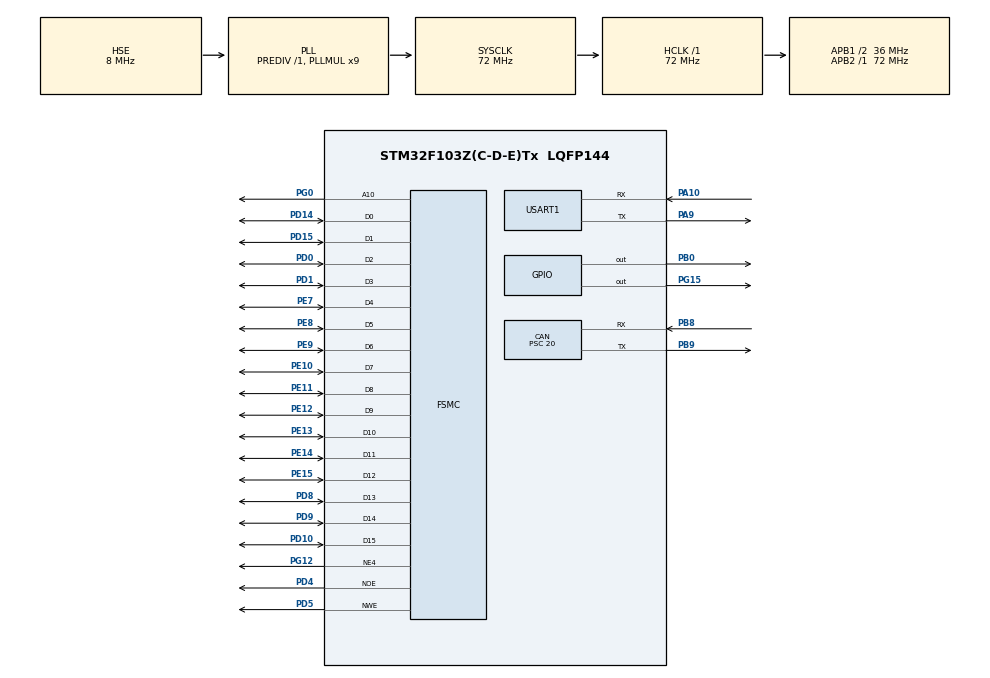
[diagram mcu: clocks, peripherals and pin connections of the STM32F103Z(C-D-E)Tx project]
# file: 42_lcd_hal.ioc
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CAN.ABOM=ENABLE
CAN.BS1=CAN_BS1_13TQ
CAN.BS2=CAN_BS2_4TQ
CAN.CalculateBaudRate=100000
CAN.CalculateTimeBit=10000
CAN.CalculateTimeQuantum=555.5555555555555
CAN.NART=ENABLE
CAN.Prescaler=20
CAN.SJW=CAN_SJW_1TQ
CAN.TXFP=ENABLE
FREERTOS.Tasks01=defaultTask,8,128,StartDefaultTask,Default,NULL,Dynamic,NULL,NULL;lvgl,24,768,StartLvglTask,Default,NULL,Dynamic,NULL,NULL;myTask03,8,128,StartTask03,Default,NULL,Dynamic,NULL,NULL
FREERTOS.configCHECK_FOR_STACK_OVERFLOW=2
FREERTOS.configTOTAL_HEAP_SIZE=8192
FREERTOS.configUSE_MALLOC_FAILED_HOOK=1
FSMC.DataSetupTime1=71
Mcu.Family=STM32F1
Mcu.Name=STM32F103Z(C-D-E)Tx
Mcu.Package=LQFP144
NVIC.PriorityGroup=NVIC_PRIORITYGROUP_4
NVIC.TIM4_IRQn=true\:15\:0\:false\:false\:true\:false\:false\:true\:true
NVIC.TimeBase=TIM4_IRQn
NVIC.TimeBaseIP=TIM4
NVIC.USB_LP_CAN1_RX0_IRQn=true\:5\:0\:false\:false\:true\:true\:true\:true\:true
OSC_IN.Mode=HSE-External-Oscillator
OSC_IN.Signal=RCC_OSC_IN
OSC_OUT.Mode=HSE-External-Oscillator
OSC_OUT.Signal=RCC_OSC_OUT
PA10.Mode=Asynchronous
PA10.Signal=USART1_RX
PA13.Mode=Serial_Wire
PA13.Signal=SYS_JTMS-SWDIO
PA14.Mode=Serial_Wire
PA14.Signal=SYS_JTCK-SWCLK
PA9.Mode=Asynchronous
PA9.Signal=USART1_TX
PB0.GPIO_Speed=GPIO_SPEED_FREQ_HIGH
PB0.Signal=GPIO_Output
PB8.Mode=CAN_Activate
PB8.Signal=CAN_RX
PB9.Mode=CAN_Activate
PB9.Signal=CAN_TX
PC14-OSC32_IN.Mode=LSE-External-Oscillator
PC14-OSC32_IN.Signal=RCC_OSC32_IN
PC15-OSC32_OUT.Mode=LSE-External-Oscillator
PC15-OSC32_OUT.Signal=RCC_OSC32_OUT
PD0.Signal=FSMC_D2_DA2
PD1.Signal=FSMC_D3_DA3
PD10.Signal=FSMC_D15_DA15
PD14.Signal=FSMC_D0_DA0
PD15.Signal=FSMC_D1_DA1
PD4.Signal=FSMC_NOE
PD5.Signal=FSMC_NWE
PD8.Signal=FSMC_D13_DA13
PD9.Signal=FSMC_D14_DA14
PE10.Signal=FSMC_D7_DA7
PE11.Signal=FSMC_D8_DA8
PE12.Signal=FSMC_D9_DA9
PE13.Signal=FSMC_D10_DA10
PE14.Signal=FSMC_D11_DA11
PE15.Signal=FSMC_D12_DA12
PE7.Signal=FSMC_D4_DA4
PE8.Signal=FSMC_D5_DA5
PE9.Signal=FSMC_D6_DA6
PG0.Signal=FSMC_A10
PG12.Mode=NorPsramChipSelect4_1
PG12.Signal=FSMC_NE4
PG15.GPIO_Speed=GPIO_SPEED_FREQ_HIGH
PG15.PinState=GPIO_PIN_SET
PG15.Signal=GPIO_Output
ProjectManager.HeapSize=0x200
ProjectManager.StackSize=0x400
ProjectManager.TargetToolchain=MDK-ARM V5.32
RCC.AHBFreq_Value=72000000
RCC.APB1CLKDivider=RCC_HCLK_DIV2
RCC.APB1Freq_Value=36000000
RCC.APB1TimFreq_Value=72000000
RCC.APB2Freq_Value=72000000
RCC.APB2TimFreq_Value=72000000
RCC.HCLKFreq_Value=72000000
RCC.PLLMUL=RCC_PLL_MUL9
RCC.PLLSourceVirtual=RCC_PLLSOURCE_HSE
RCC.SYSCLKFreq_VALUE=72000000
RCC.SYSCLKSource=RCC_SYSCLKSOURCE_PLLCLK
RCC.USBFreq_Value=72000000
SH.FSMC_A10.0=FSMC_A10,A10_1
SH.FSMC_D0_DA0.0=FSMC_D0,16b-d1
SH.FSMC_D10_DA10.0=FSMC_D10,16b-d1
SH.FSMC_D11_DA11.0=FSMC_D11,16b-d1
SH.FSMC_D12_DA12.0=FSMC_D12,16b-d1
SH.FSMC_D13_DA13.0=FSMC_D13,16b-d1
SH.FSMC_D14_DA14.0=FSMC_D14,16b-d1
SH.FSMC_D15_DA15.0=FSMC_D15,16b-d1
SH.FSMC_D1_DA1.0=FSMC_D1,16b-d1
SH.FSMC_D2_DA2.0=FSMC_D2,16b-d1
SH.FSMC_D3_DA3.0=FSMC_D3,16b-d1
SH.FSMC_D4_DA4.0=FSMC_D4,16b-d1
SH.FSMC_D5_DA5.0=FSMC_D5,16b-d1
SH.FSMC_D6_DA6.0=FSMC_D6,16b-d1
SH.FSMC_D7_DA7.0=FSMC_D7,16b-d1
SH.FSMC_D8_DA8.0=FSMC_D8,16b-d1
SH.FSMC_D9_DA9.0=FSMC_D9,16b-d1
SH.FSMC_NOE.0=FSMC_NOE,Lcd1
SH.FSMC_NWE.0=FSMC_NWE,Lcd1
USART1.VirtualMode=VM_ASYNC
VP_FREERTOS_VS_CMSIS_V2.Mode=CMSIS_V2
VP_SYS_VS_tim4.Mode=TIM4
board=custom

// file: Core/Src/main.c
/* USER CODE BEGIN Header */
/**
 ******************************************************************************
 * @file           : main.c
 * @brief          : Main program body
 ******************************************************************************
 * @attention
 *
 * Copyright (c) 2024 STMicroelectronics.
 * All rights reserved.
 *
 * This software is licensed under terms that can be found in the LICENSE file
 * in the root directory of this software component.
 * If no LICENSE file comes with this software, it is provided AS-IS.
 *
 ******************************************************************************
 */
/* USER CODE END Header */
#include "main.h"
#include "cmsis_os.h"
#include "can.h"
#include "usart.h"
#include "gpio.h"
#include "fsmc.h"

/* USER CODE BEGIN Includes */
#include <stdio.h>
#include <stdlib.h>
#include "lcd.h"
/* USER CODE END Includes */

void SystemClock_Config(void);
void MX_FREERTOS_Init(void);

int main(void)
{

  /* MCU Configuration--------------------------------------------------------*/

  /* Reset of all peripherals, Initializes the Flash interface and the Systick. */
  HAL_Init();

  /* Configure the system clock */
  SystemClock_Config();

  /* Initialize all configured peripherals */
  /*
   * 初始化顺序：GPIO → FSMC LCD 总线 → USART1 调试串口 → CAN1。
   * LCD/LVGL 本体稍后在 LVGL 任务中初始化。
   */
  MX_GPIO_Init();
  MX_FSMC_Init();
  MX_USART1_UART_Init();
  MX_CAN_Init();
  /* USER CODE BEGIN 2 */
/*
 * 调度器启动前配置 0x201 过滤器、启动 CAN1 和接收中断。
 * 如果启动失败则打印错误并停机，防止进入一个没有 CAN 的仪表系统。
 */
if(CAN_ReceiveStart() != HAL_OK)
{
    printf("CAN START ERROR\r\n");
    Error_Handler();
}

printf("CAN START OK\r\n");
  /* USER CODE END 2 */

  /* Init scheduler */
  /* 初始化 CMSIS-RTOS2/FreeRTOS 内核和应用任务，然后启动调度器。 */
  osKernelInitialize();

  /* Call init function for freertos objects (in freertos.c) */
  MX_FREERTOS_Init();

  /* Start scheduler */
  osKernelStart();

  /* We should never get here as control is now taken by the scheduler */
  /* Infinite loop */
  while (1)
  {

  }
}

void SystemClock_Config(void)
{
  RCC_OscInitTypeDef RCC_OscInitStruct = {0};
  RCC_ClkInitTypeDef RCC_ClkInitStruct = {0};

  /** Initializes the RCC Oscillators according to the specified parameters
  * in the RCC_OscInitTypeDef structure.
  */
  /* 外部 8MHz 晶振经 PLL×9 得到 72MHz SYSCLK。 */
  RCC_OscInitStruct.OscillatorType = RCC_OSCILLATORTYPE_HSE;
  RCC_OscInitStruct.HSEState = RCC_HSE_ON;
  RCC_OscInitStruct.HSEPredivValue = RCC_HSE_PREDIV_DIV1;
  RCC_OscInitStruct.HSIState = RCC_HSI_ON;
  RCC_OscInitStruct.PLL.PLLState = RCC_PLL_ON;
  RCC_OscInitStruct.PLL.PLLSource = RCC_PLLSOURCE_HSE;
  RCC_OscInitStruct.PLL.PLLMUL = RCC_PLL_MUL9;
  if (HAL_RCC_OscConfig(&RCC_OscInitStruct) != HAL_OK)
  {
    Error_Handler();
  }

  /** Initializes the CPU, AHB and APB buses clocks
  */
  RCC_ClkInitStruct.ClockType = RCC_CLOCKTYPE_HCLK|RCC_CLOCKTYPE_SYSCLK
                              |RCC_CLOCKTYPE_PCLK1|RCC_CLOCKTYPE_PCLK2;
  RCC_ClkInitStruct.SYSCLKSource = RCC_SYSCLKSOURCE_PLLCLK;
  /* AHB=72MHz，APB1=36MHz，APB2=72MHz。 */
  RCC_ClkInitStruct.AHBCLKDivider = RCC_SYSCLK_DIV1;
  RCC_ClkInitStruct.APB1CLKDivider = RCC_HCLK_DIV2;
  RCC_ClkInitStruct.APB2CLKDivider = RCC_HCLK_DIV1;

  if (HAL_RCC_ClockConfig(&RCC_ClkInitStruct, FLASH_LATENCY_2) != HAL_OK)
  {
    Error_Handler();
  }
}

void HAL_TIM_PeriodElapsedCallback(TIM_HandleTypeDef *htim)
{
  /* TIM4 是 HAL 时间基准，每 1ms 调用一次 HAL_IncTick()。 */
  if (htim->Instance == TIM4) {
    HAL_IncTick();
  }
}

void Error_Handler(void)
{
  __disable_irq();
  while (1)
  {
  }
}

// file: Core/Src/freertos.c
/* USER CODE BEGIN Header */
/**
  ******************************************************************************
  * File Name          : freertos.c
  * Description        : Code for freertos applications
  ******************************************************************************
  * @attention
  *
  * Copyright (c) 2026 STMicroelectronics.
  * All rights reserved.
  *
  * This software is licensed under terms that can be found in the LICENSE file
  * in the root directory of this software component.
  * If no LICENSE file comes with this software, it is provided AS-IS.
  *
  ******************************************************************************
  */
/* USER CODE END Header */

#include "FreeRTOS.h"
#include "task.h"
#include "main.h"
#include "cmsis_os.h"

/* USER CODE BEGIN Includes */
#include "lcd.h"
#include "lvgl.h"
#include "lv_port_disp.h"
#include <stdio.h>
#include "dashboard.h"
#include "can.h"
/* USER CODE END Includes */

/* USER CODE BEGIN PD */
/* LVGL 任务每 20ms 检查一次共享 CAN 数据，界面实际只在数据变化时重绘。 */
#define DASHBOARD_UPDATE_PERIOD_MS  20U
/* 500ms 内没有新有效帧即认为 CAN 离线，仪表归零并显示 CAN LOST。 */
#define DASHBOARD_CAN_TIMEOUT_MS    500U

/* USER CODE END PD */

/* Definitions for defaultTask */
osThreadId_t defaultTaskHandle;
/* 默认任务仅保留 CubeMX 框架，低优先级、512 字节栈。 */
const osThreadAttr_t defaultTask_attributes = {
  .name = "defaultTask",
  .stack_size = 128 * 4,
  .priority = (osPriority_t) osPriorityLow,
};
/* Definitions for lvgl */
osThreadId_t lvglHandle;
/*
 * LVGL 软件渲染调用链较深，因此分配 1536 words = 6144 字节栈。
 * 之前 3072 字节会在第一次整屏绘制附近发生栈溢出/HardFault。
 */
const osThreadAttr_t lvgl_attributes = {
  .name = "lvgl",
  .stack_size = 1536 * 4,
  .priority = (osPriority_t) osPriorityNormal,
};
/* Definitions for myTask03 */
osThreadId_t myTask03Handle;
/* CAN 串口监视任务：Normal 优先级，1024 字节栈。 */
const osThreadAttr_t myTask03_attributes = {
  .name = "myTask03",
  .stack_size = 256 * 4,
  .priority = (osPriority_t) osPriorityNormal,
};

void StartDefaultTask(void *argument);
void StartLvglTask(void *argument);
void StartTask03(void *argument);

void MX_FREERTOS_Init(void); /* (MISRA C 2004 rule 8.1) */

/* Hook prototypes */
void vApplicationStackOverflowHook(xTaskHandle xTask, signed char *pcTaskName);
void vApplicationMallocFailedHook(void);

/* USER CODE BEGIN 4 */
void vApplicationStackOverflowHook(xTaskHandle xTask, signed char *pcTaskName)
{
   /*
    * FreeRTOS 检测到任务栈溢出时进入此钩子。
    * 调试时可在此处下断点，并查看 pcTaskName 确认是哪个任务溢出。
    */
   (void)xTask;
   (void)pcTaskName;
   /* Run time stack overflow checking is performed if
   configCHECK_FOR_STACK_OVERFLOW is defined to 1 or 2. This hook function is
   called if a stack overflow is detected. */
}
/* USER CODE END 4 */

/* USER CODE BEGIN 5 */
void vApplicationMallocFailedHook(void)
{
   /* FreeRTOS 堆分配失败时进入此钩子，调试时应在此处下断点。 */
   /* vApplicationMallocFailedHook() will only be called if
   configUSE_MALLOC_FAILED_HOOK is set to 1 in FreeRTOSConfig.h. It is a hook
   function that will get called if a call to pvPortMalloc() fails.
   pvPortMalloc() is called internally by the kernel whenever a task, queue,
   timer or semaphore is created. It is also called by various parts of the
   demo application. If heap_1.c or heap_2.c are used, then the size of the
   heap available to pvPortMalloc() is defined by configTOTAL_HEAP_SIZE in
   FreeRTOSConfig.h, and the xPortGetFreeHeapSize() API function can be used
   to query the size of free heap space that remains (although it does not
   provide information on how the remaining heap might be fragmented). */
}
/* USER CODE END 5 */

void MX_FREERTOS_Init(void) {

  /* Create the thread(s) */
  /* 依次创建默认任务、LVGL 任务和 CAN 串口监视任务。 */
  /* creation of defaultTask */
  defaultTaskHandle = osThreadNew(StartDefaultTask, NULL, &defaultTask_attributes);

  /* creation of lvgl */
  lvglHandle = osThreadNew(StartLvglTask, NULL, &lvgl_attributes);

  /* creation of myTask03 */
  myTask03Handle = osThreadNew(StartTask03, NULL, &myTask03_attributes);

  /* USER CODE BEGIN RTOS_THREADS */
  /* 调度器启动前输出任务创建结果；任一句柄为 NULL 都表示堆空间不足。 */
  printf("TASK CREATE default:%s lvgl:%s task3:%s HEAP:%lu\r\n",
         (defaultTaskHandle != NULL) ? "OK" : "FAIL",
         (lvglHandle != NULL) ? "OK" : "FAIL",
         (myTask03Handle != NULL) ? "OK" : "FAIL",
         (unsigned long)xPortGetFreeHeapSize());
  /* USER CODE END RTOS_THREADS */

}

void StartDefaultTask(void *argument)
{
  /* USER CODE BEGIN StartDefaultTask */
  (void)argument;

  /*
   * 该任务目前不承担业务，只周期性阻塞，让出 CPU。
   * 保留它是为了兼容 CubeMX 生成结构和后续扩展。
   */
  /* Infinite loop */
  for(;;)
  {
    osDelay(1);
  }
  /* USER CODE END StartDefaultTask */
}

void StartLvglTask(void *argument)
{
  /* USER CODE BEGIN StartLvglTask */
  lv_display_t *display;
  uint16_t rpm_x10;
  uint16_t last_display_rpm_x10;
  uint8_t can_online;
  uint8_t last_can_online;
  uint32_t last_rx_tick;
  uint32_t dashboard_update_tick;
  uint32_t now;

  (void)argument;

  /*
   * LCD 和 LVGL 都在同一个任务中初始化并访问。
   * 这样可保证 LVGL 对象不会被多个任务同时修改。
   */
  LCD_Init();
  LCD_SetLandscape();
  LCD_ClearAll(BLACK);

  /* 初始化 LVGL 核心，并让 LVGL 直接读取 HAL 的毫秒节拍。 */
  lv_init();
  lv_tick_set_cb(HAL_GetTick);

  /* 注册 480×320 RGB565 的 ILI9486 显示端口。 */
  display = LV_PortDisp_Init();
  if(display == NULL)
  {
    /* LVGL 内存不足时停在此处，便于调试器定位。 */
    for(;;)
    {
      osDelay(1000U);
    }
  }

  /* 创建汽车转速表界面。 */
  Dashboard_Init();

  /* 使用不可能出现的初值，确保第一次轮询一定刷新 CAN 状态。 */
  last_display_rpm_x10 = 0xFFFFU;
  last_can_online = 0xFFU;
  dashboard_update_tick = HAL_GetTick();

  /* Infinite loop */
  for(;;)
  {
    now = HAL_GetTick();

    /* 每 20ms 获取一次 CAN 数据快照。 */
    if((now - dashboard_update_tick) >=
       DASHBOARD_UPDATE_PERIOD_MS)
    {
      dashboard_update_tick = now;

      /* Cortex-M3 对对齐的 16/32 位变量读取是原子的。 */
      rpm_x10 = g_can_rpm_x10;
      last_rx_tick = g_can_last_rx_tick;

      /* 同时满足“收过有效帧”和“最近一帧不超过 500ms”才算在线。 */
      if((g_can_data_valid != 0U) &&
         ((now - last_rx_tick) <=
          DASHBOARD_CAN_TIMEOUT_MS))
      {
        can_online = 1U;
      }
      else
      {
        can_online = 0U;
        rpm_x10 = 0U;
      }

      /*
       * 只有数值或链路状态变化才修改 LVGL 对象，
       * 防止相同画面被反复无意义重绘，降低 FSMC 和 CPU 负载。
       */
      if((rpm_x10 != last_display_rpm_x10) ||
         (can_online != last_can_online))
      {
        Dashboard_Update(rpm_x10, can_online);
        last_display_rpm_x10 = rpm_x10;
        last_can_online = can_online;
      }
    }

    /* 执行 LVGL 定时器、布局、绘制和显示刷新回调。 */
    (void)lv_timer_handler();

    osDelay(5U);
  }
  /* USER CODE END StartLvglTask */
}

void StartTask03(void *argument)
{
  /* USER CODE BEGIN StartTask03 */
  uint16_t rpm_x10;
  uint16_t rpm_integer;
  uint16_t rpm_decimal;
  uint8_t sequence;
  uint8_t reverse;
  uint8_t valid;
  uint32_t last_tick;
  uint32_t message_age;

  (void)argument;

  /* 延迟 1 秒，让 LVGL 先完成第一次整屏刷新。 */
  osDelay(1000U);

  printf("CAN monitor task started HEAP:%lu STACK:%lu\r\n",
         (unsigned long)xPortGetFreeHeapSize(),
         (unsigned long)uxTaskGetStackHighWaterMark(NULL));

  /* Infinite loop */
  for(;;)
  {
    rpm_x10 = g_can_rpm_x10;
    sequence = g_can_sequence;
    reverse = g_can_reverse;
    valid = g_can_data_valid;
    last_tick = g_can_last_rx_tick;

    message_age = HAL_GetTick() - last_tick;

    /* 与仪表盘使用相同的 500ms 在线判断。 */
    if((valid != 0U) &&
       (message_age <= 500U))
    {
      /*
       * 不使用浮点 printf：例如 rpm_x10=375，拆分为 37 和 5，
       * 再以“37.5”的形式输出，可减少代码体积和运行开销。
       */
      rpm_integer = rpm_x10 / 10U;
      rpm_decimal = rpm_x10 % 10U;

      printf(
          "CAN RX SEQ:%u RPM:%u.%u DIR:%s AGE:%lu\r\n",
          (unsigned int)sequence,
          (unsigned int)rpm_integer,
          (unsigned int)rpm_decimal,
          (reverse != 0U) ? "REV" : "FWD",
          (unsigned long)message_age);
    }
    else
    {
      /* 尚未收到有效帧，或最后一帧已经超过 500ms。 */
      printf(
          "CAN LOST VALID:%u AGE:%lu\r\n",
          (unsigned int)valid,
          (unsigned long)message_age);
    }

    /* 每 200ms 打印一次，避免阻塞式串口输出占用过多 CPU。 */
    osDelay(200U);
  }
  /* USER CODE END StartTask03 */
}
